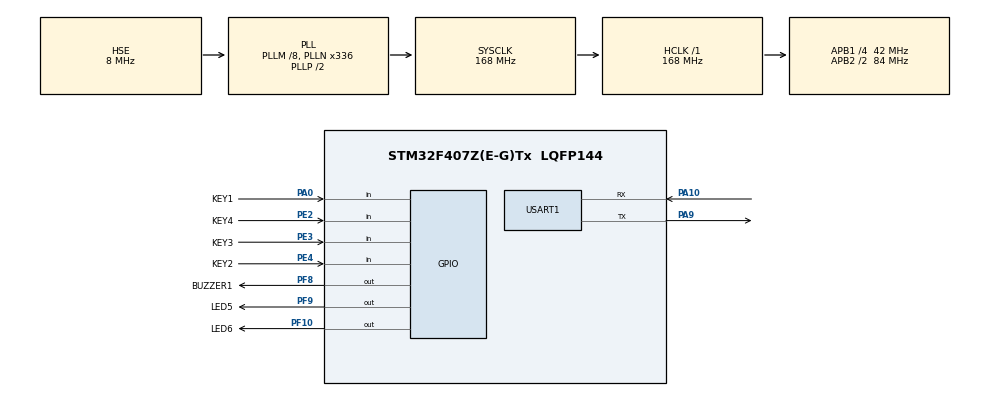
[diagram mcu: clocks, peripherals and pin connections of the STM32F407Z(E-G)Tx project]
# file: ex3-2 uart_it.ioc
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Mcu.Family=STM32F4
Mcu.Name=STM32F407Z(E-G)Tx
Mcu.Package=LQFP144
NVIC.PriorityGroup=NVIC_PRIORITYGROUP_4
NVIC.USART1_IRQn=true\:0\:0\:false\:false\:true
PA0-WKUP.GPIO_Label=KEY1
PA0-WKUP.Signal=GPIO_Input
PA10.GPIO_Speed=GPIO_SPEED_FREQ_LOW
PA10.Mode=Asynchronous
PA10.Signal=USART1_RX
PA9.GPIO_Speed=GPIO_SPEED_FREQ_LOW
PA9.Mode=Asynchronous
PA9.Signal=USART1_TX
PC14-OSC32_IN.Mode=LSE-External-Oscillator
PC14-OSC32_IN.Signal=RCC_OSC32_IN
PC15-OSC32_OUT.Mode=LSE-External-Oscillator
PC15-OSC32_OUT.Signal=RCC_OSC32_OUT
PE2.GPIO_Label=KEY4
PE2.Signal=GPIO_Input
PE3.GPIO_Label=KEY3
PE3.Signal=GPIO_Input
PE4.GPIO_Label=KEY2
PE4.Signal=GPIO_Input
PF10.GPIO_Label=LED6
PF10.PinState=GPIO_PIN_SET
PF10.Signal=GPIO_Output
PF8.GPIO_Label=BUZZER1
PF8.PinState=GPIO_PIN_RESET
PF8.Signal=GPIO_Output
PF9.GPIO_Label=LED5
PF9.PinState=GPIO_PIN_SET
PF9.Signal=GPIO_Output
PH0-OSC_IN.Mode=HSE-External-Oscillator
PH0-OSC_IN.Signal=RCC_OSC_IN
PH1-OSC_OUT.Mode=HSE-External-Oscillator
PH1-OSC_OUT.Signal=RCC_OSC_OUT
ProjectManager.HeapSize=0x200
ProjectManager.StackSize=0x400
ProjectManager.TargetToolchain=MDK-ARM V5
RCC.48MHZClocksFreq_Value=84000000
RCC.AHBFreq_Value=168000000
RCC.APB1CLKDivider=RCC_HCLK_DIV4
RCC.APB1Freq_Value=42000000
RCC.APB1TimFreq_Value=84000000
RCC.APB2CLKDivider=RCC_HCLK_DIV2
RCC.APB2Freq_Value=84000000
RCC.APB2TimFreq_Value=168000000
RCC.CortexFreq_Value=21000000
RCC.Cortex_Div=SYSTICK_CLKSOURCE_HCLK_DIV8
RCC.FLatency=FLASH_LATENCY_5
RCC.HCLKFreq_Value=168000000
RCC.HSE_VALUE=8000000
RCC.HSI_VALUE=16000000
RCC.PLLM=8
RCC.PLLN=336
RCC.PLLSourceVirtual=RCC_PLLSOURCE_HSE
RCC.SYSCLKFreq_VALUE=168000000
RCC.SYSCLKSource=RCC_SYSCLKSOURCE_PLLCLK
RCC.VCOOutputFreq_Value=336000000
board=ex3-2 uart_it

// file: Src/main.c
/**
  ******************************************************************************
  * File Name          : main.c
  * Description        : Main program body
  ******************************************************************************
  *
  * COPYRIGHT(c) 2016 STMicroelectronics
  *
  * Redistribution and use in source and binary forms, with or without modification,
  * are permitted provided that the following conditions are met:
  *   1. Redistributions of source code must retain the above copyright notice,
  *      this list of conditions and the following disclaimer.
  *   2. Redistributions in binary form must reproduce the above copyright notice,
  *      this list of conditions and the following disclaimer in the documentation
  *      and/or other materials provided with the distribution.
  *   3. Neither the name of STMicroelectronics nor the names of its contributors
  *      may be used to endorse or promote products derived from this software
  *      without specific prior written permission.
  *
  * THIS SOFTWARE IS PROVIDED BY THE COPYRIGHT HOLDERS AND CONTRIBUTORS "AS IS"
  * AND ANY EXPRESS OR IMPLIED WARRANTIES, INCLUDING, BUT NOT LIMITED TO, THE
  * IMPLIED WARRANTIES OF MERCHANTABILITY AND FITNESS FOR A PARTICULAR PURPOSE ARE
  * DISCLAIMED. IN NO EVENT SHALL THE COPYRIGHT HOLDER OR CONTRIBUTORS BE LIABLE
  * FOR ANY DIRECT, INDIRECT, INCIDENTAL, SPECIAL, EXEMPLARY, OR CONSEQUENTIAL
  * DAMAGES (INCLUDING, BUT NOT LIMITED TO, PROCUREMENT OF SUBSTITUTE GOODS OR
  * SERVICES; LOSS OF USE, DATA, OR PROFITS; OR BUSINESS INTERRUPTION) HOWEVER
  * CAUSED AND ON ANY THEORY OF LIABILITY, WHETHER IN CONTRACT, STRICT LIABILITY,
  * OR TORT (INCLUDING NEGLIGENCE OR OTHERWISE) ARISING IN ANY WAY OUT OF THE USE
  * OF THIS SOFTWARE, EVEN IF ADVISED OF THE POSSIBILITY OF SUCH DAMAGE.
  *
  ******************************************************************************
  */
#include "main.h"
#include "stm32f4xx_hal.h"
#include "usart.h"
#include "gpio.h"

/* USER CODE BEGIN Includes */
/*****************************************************************************
@File name:
@Description: uart1用中断方式接收数据,再发回给pc
@Author: Harry Wu
@Version: V1.1
@Date: 2016-11-17
@History:
		V1.0: 用中断方式接收数据,数据完成后(判断是否有回车符),将数据保存在数组中,
		main函数中判断是否接收完成,接收完成再发送原回上位机.
		V1.1: 把接收完成后要处理的任务放到回调函数HAL_UART_RxCpltCallback()中

*****************************************************************************/
#include "MyTypeDef.h"
#include "key.h"
#include "led.h"
#include "usart.h"
/* USER CODE END Includes */

/* USER CODE BEGIN PV */
/* Private variables ---------------------------------------------------------*/

/* USER CODE END PV */

void SystemClock_Config(void);
void Error_Handler(void);

/* USER CODE BEGIN PFP */
/* Private function prototypes -----------------------------------------------*/

/* USER CODE END PFP */

int main(void)
{

  /* USER CODE BEGIN 1 */
	u8 key;
	u16 times=0;
//	u8 len;  //获取接收到的字节数
//	#define USART_REC_LEN  			200  	//定义最大接收字节数 200
//	u8 rec_data_buf[USART_REC_LEN];
	//u8 buff[10];
	//硬件初始化
  /* USER CODE END 1 */

  /* MCU Configuration----------------------------------------------------------*/

  /* Reset of all peripherals, Initializes the Flash interface and the Systick. */
  HAL_Init();

  /* Configure the system clock */
  SystemClock_Config();

  /* Initialize all configured peripherals */
  MX_GPIO_Init();
  MX_USART1_UART_Init();

  /* USER CODE BEGIN 2 */
  HAL_UART_Receive_IT(&huart1, (u8 *)aRxBuffer, RXBUFFERSIZE);
  /* USER CODE END 2 */

  /* Infinite loop */
  /* USER CODE BEGIN WHILE */
  while (1)
  {
	key = key_scanf();
	if(key == KEY1_OK) LED5 = !LED5;
	else if(key == KEY2_OK) LED6 = !LED6;
	else if(key == KEY3_OK) BUZZER1 = !BUZZER1;

    if(USART_RX_STA&(0x01<<15))  //如果接收完成
	{
//			len=USART_RX_STA&0x3fff;//得到此次接收到的数据长度
//			printf("\r\n您发送的消息为:\r\n");
//			HAL_UART_Transmit(&huart1,rec_data_buf,len,1000);	//发送接收到的数据
//			while(__HAL_UART_GET_FLAG(&huart1,UART_FLAG_TC)!=SET);		//等待发送结束
//			printf("\r\n\r\n");//插入换行
//			USART_RX_STA=0;
	}
	//如果接收没完成,接收完成了时候需要发送数据会上位机,所以下面的任务在没完成时处理比较好
	else
	{
		times++;
		if(times%3000==0)
		{
			printf("\r\n等的牙都长了！\r\n");
			//printf("正点原子@ALIENTEK\r\n\r\n\r\n");
		}
		if(times%500==0)printf("请输入数据,以回车键结束（如无回车键，信息不会回传）：\r\n");
		if(times%100==0)LED5=!LED5;//闪烁LED,提示系统正在运行.
		HAL_Delay(10);
	}

  /* USER CODE END WHILE */

  }

}

/** System Clock Configuration
*/
void SystemClock_Config(void)
{

  RCC_OscInitTypeDef RCC_OscInitStruct;
  RCC_ClkInitTypeDef RCC_ClkInitStruct;

    /**Configure the main internal regulator output voltage
    */
  __HAL_RCC_PWR_CLK_ENABLE();

  __HAL_PWR_VOLTAGESCALING_CONFIG(PWR_REGULATOR_VOLTAGE_SCALE1);

    /**Initializes the CPU, AHB and APB busses clocks
    */
  RCC_OscInitStruct.OscillatorType = RCC_OSCILLATORTYPE_HSE;
  RCC_OscInitStruct.HSEState = RCC_HSE_ON;
  RCC_OscInitStruct.PLL.PLLState = RCC_PLL_ON;
  RCC_OscInitStruct.PLL.PLLSource = RCC_PLLSOURCE_HSE;
  RCC_OscInitStruct.PLL.PLLM = 8;
  RCC_OscInitStruct.PLL.PLLN = 336;
  RCC_OscInitStruct.PLL.PLLP = RCC_PLLP_DIV2;
  RCC_OscInitStruct.PLL.PLLQ = 4;
  if (HAL_RCC_OscConfig(&RCC_OscInitStruct) != HAL_OK)
  {
    Error_Handler();
  }

    /**Initializes the CPU, AHB and APB busses clocks
    */
  RCC_ClkInitStruct.ClockType = RCC_CLOCKTYPE_HCLK|RCC_CLOCKTYPE_SYSCLK
                              |RCC_CLOCKTYPE_PCLK1|RCC_CLOCKTYPE_PCLK2;
  RCC_ClkInitStruct.SYSCLKSource = RCC_SYSCLKSOURCE_PLLCLK;
  RCC_ClkInitStruct.AHBCLKDivider = RCC_SYSCLK_DIV1;
  RCC_ClkInitStruct.APB1CLKDivider = RCC_HCLK_DIV4;
  RCC_ClkInitStruct.APB2CLKDivider = RCC_HCLK_DIV2;

  if (HAL_RCC_ClockConfig(&RCC_ClkInitStruct, FLASH_LATENCY_5) != HAL_OK)
  {
    Error_Handler();
  }

    /**Configure the Systick interrupt time
    */
  HAL_SYSTICK_Config(HAL_RCC_GetHCLKFreq()/8000);

    /**Configure the Systick
    */
  HAL_SYSTICK_CLKSourceConfig(SYSTICK_CLKSOURCE_HCLK_DIV8);

  /* SysTick_IRQn interrupt configuration */
  HAL_NVIC_SetPriority(SysTick_IRQn, 0, 0);
}

void Error_Handler(void)
{
  while(1)
  {
  }
}

/************************ (C) COPYRIGHT STMicroelectronics *****END OF FILE****/
